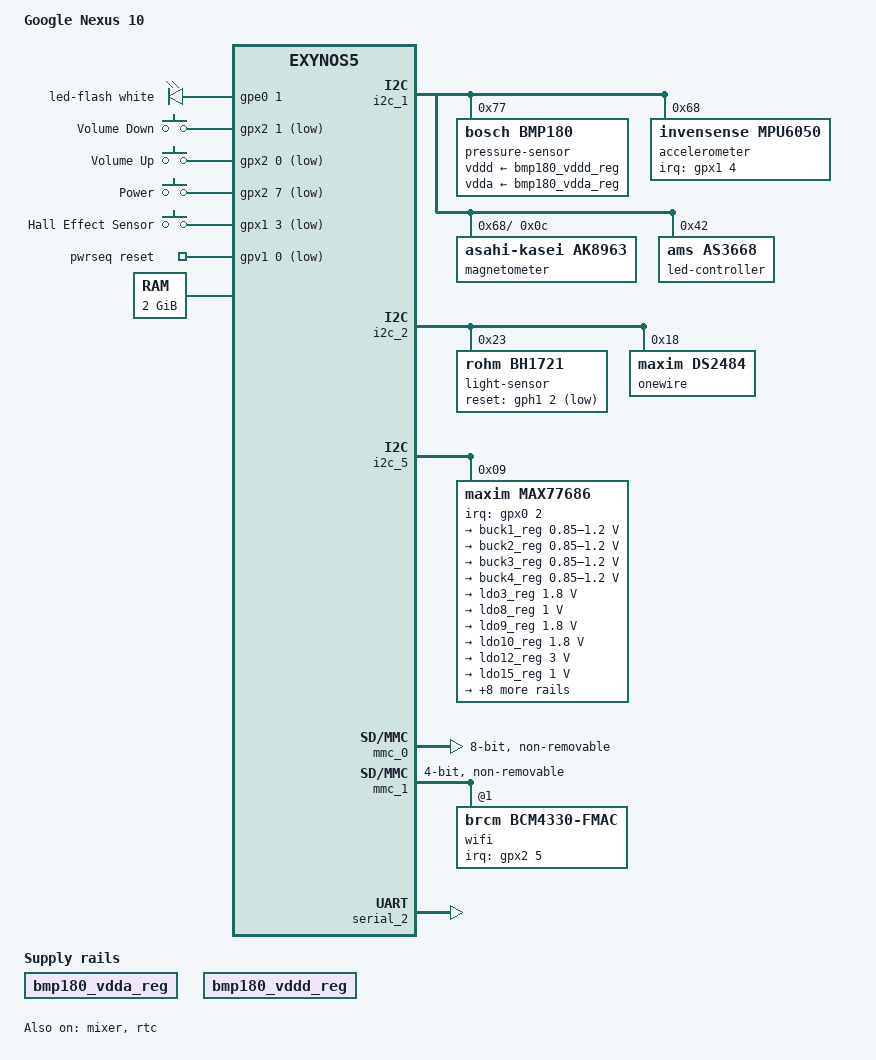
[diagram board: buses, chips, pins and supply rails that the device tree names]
// SPDX-License-Identifier: GPL-2.0
/*
 * Google Manta (Nexus 10) board device tree source
 *
 * Copyright (c) 2023-2026 Alexandre Marquet
 * Copyright (c) 2025-2026 Lukas Timmermann
 */

/dts-v1/;
#include "exynos5250.dtsi"
#include "exynos-pinctrl.h"
#include "exynos-mfc-reserved-memory.dtsi"

#include <dt-bindings/clock/maxim,max77686.h>
#include <dt-bindings/gpio/gpio.h>
#include <dt-bindings/input/linux-event-codes.h>
#include <dt-bindings/leds/common.h>

/ {
	model = "Google Nexus 10";
	compatible = "google,manta", "samsung,exynos5250", "samsung,exynos5";

	aliases {
		mmc0 = &mmc_0; /* eMMC */
		mmc1 = &mmc_1; /* WiFi */
	};

	/* Voltage source unknown */
	bmp180_vdda_reg: regulator-bmp180-vdda {
		compatible = "regulator-fixed";
		regulator-name = "BMP180_VDDA";
	};

	/* Voltage source unknown */
	bmp180_vddd_reg: regulator-bmp180-vddd {
		compatible = "regulator-fixed";
		regulator-name = "BMP180_VDDD";
	};

	chosen {
		stdout-path = "serial2:115200n8";
	};

	flash-controller {
		compatible = "gpio-leds";

		led-flash {
			function = LED_FUNCTION_FLASH;
			color = <LED_COLOR_ID_WHITE>;
			linux,default-trigger = "flash";
			gpios = <&gpe0 1 GPIO_ACTIVE_HIGH>;
			default-state = "off";
		};
	};

	fixed-rate-clocks {
		xxti {
			compatible = "samsung,clock-xxti";
			clock-frequency = <24000000>;
		};
	};

	gpio-keys {
		compatible = "gpio-keys";

		pinctrl-0 = <&gpio_keys>;
		pinctrl-names = "default";

		button-volume-down {
			label = "Volume Down";
			gpios = <&gpx2 1 GPIO_ACTIVE_LOW>;
			linux,code = <KEY_VOLUMEDOWN>;
			debounce-interval = <5>;
		};

		button-volume-up {
			label = "Volume Up";
			gpios = <&gpx2 0 GPIO_ACTIVE_LOW>;
			linux,code = <KEY_VOLUMEUP>;
			debounce-interval = <5>;
		};

		button-power {
			label = "Power";
			gpios = <&gpx2 7 GPIO_ACTIVE_LOW>;
			linux,code = <KEY_POWER>;
			debounce-interval = <5>;
			wakeup-source;
		};

		lid-switch {
			label = "Hall Effect Sensor";
			gpios = <&gpx1 3 GPIO_ACTIVE_LOW>;
			linux,input-type = <EV_SW>;
			linux,code = <SW_LID>;
			debounce-interval = <10>;
			wakeup-source;
		};
	};

	multi-led {
		compatible = "leds-group-multicolor";
		color = <LED_COLOR_ID_RGB>;
		function = LED_FUNCTION_STATUS;
		leds = <&status_red>, <&status_green>, <&status_blue>, <&status_white>;
	};

	pwrseq: mmc1-pwrseq {
		compatible = "mmc-pwrseq-simple";

		reset-gpios = <&gpv1 0 GPIO_ACTIVE_LOW>;
		pinctrl-0 = <&wlan_pmena>;
		pinctrl-names = "default";

		clocks = <&max77686 MAX77686_CLK_PMIC>;
		clock-names = "ext_clock";

		post-power-on-delay-ms = <300>;
		power-off-delay-us = <50>;
	};

	firmware@204efff {
		compatible = "samsung,secure-firmware";
		reg = <0x0204efff 0x1000>;
	};

	memory@40000000 {
		device_type = "memory";
		reg = <0x40000000 0x20000000>,
		      <0x60000000 0x20000000>,
		      <0x80000000 0x20000000>,
		      <0xa0000000 0x1ff00000>;
	};
};

&clock {
	assigned-clocks = <&clock CLK_FOUT_APLL>;
	assigned-clock-rates = <1000000000>;
};

&cpu0 {
	cpu-supply = <&buck2_reg>;
};

&cpu1 {
	cpu-supply = <&buck2_reg>;
};

&ehci {
	status = "disabled";
};

&i2c_1 {
	status = "okay";

	pressure-sensor@77 {
		compatible = "bosch,bmp180";
		reg = <0x77>;
		vddd-supply = <&bmp180_vddd_reg>;
		vdda-supply = <&bmp180_vdda_reg>;
	};

	accelerometer@68 {
		compatible = "invensense,mpu6050";
		reg = <0x68>;

		pinctrl-0 = <&acc_int>;
		pinctrl-names = "default";

		interrupt-parent = <&gpx1>;
		interrupts = <4 IRQ_TYPE_EDGE_RISING>;

		mount-matrix = "0", "-1",  "0",
			      "-1",  "0",  "0",
			       "0",  "0", "-1";

		i2c-gate {
			#address-cells = <1>;
			#size-cells = <0>;

			magnetometer@c {
				compatible = "asahi-kasei,ak8963";
				reg = <0x0c>;

				pinctrl-0 = <&msense_reset>;
				pinctrl-names = "default";

				mount-matrix = "-1", "0",  "0",
					       "0",  "1",  "0",
					       "0",  "0", "-1";
			};
		};
	};

	led-controller@42 {
		compatible = "ams,as3668";
		#address-cells = <1>;
		#size-cells = <0>;
		reg = <0x42>;

		status_red: led@0 {
			reg = <0>;
			function = LED_FUNCTION_STATUS;
			color = <LED_COLOR_ID_RED>;
		};

		status_green: led@1 {
			reg = <1>;
			function = LED_FUNCTION_STATUS;
			color = <LED_COLOR_ID_GREEN>;
		};

		status_blue: led@2 {
			reg = <2>;
			function = LED_FUNCTION_STATUS;
			color = <LED_COLOR_ID_BLUE>;
		};

		status_white: led@3 {
			reg = <3>;
			function = LED_FUNCTION_STATUS;
			color = <LED_COLOR_ID_WHITE>;
		};
	};
};

&i2c_2 {
	status = "okay";

	light-sensor@23 {
		compatible = "rohm,bh1721";
		reg = <0x23>;

		pinctrl-0 = <&bh1721fvc_reset>;
		pinctrl-names = "default";

		reset-gpios = <&gph1 2 GPIO_ACTIVE_LOW>;
	};

	onewire@18 {
		compatible = "maxim,ds2484";
		reg = <0x18>;

		pinctrl-0 = <&onewire_sleep>;
		pinctrl-names = "default";
	};
};

&i2c_5 {
	samsung,i2c-sda-delay = <100>;
	status = "okay";

	max77686: pmic@9 {
		compatible = "maxim,max77686";
		reg = <0x09>;

		interrupt-parent = <&gpx0>;
		interrupts = <2 IRQ_TYPE_LEVEL_LOW>;

		pinctrl-0 = <&max77686_irq>;
		pinctrl-names = "default";

		#clock-cells = <1>;
		wakeup-source;

		voltage-regulators {
			buck1_reg: BUCK1 {
				regulator-name = "vdd_mif";
				regulator-min-microvolt = <850000>;
				regulator-max-microvolt = <1200000>;
				regulator-always-on;
				regulator-boot-on;
			};

			buck2_reg: BUCK2 {
				regulator-name = "vdd_arm";
				regulator-min-microvolt = <850000>;
				regulator-max-microvolt = <1200000>;
				regulator-always-on;
				regulator-boot-on;
			};

			buck3_reg: BUCK3 {
				regulator-name = "vdd_int";
				regulator-min-microvolt = <850000>;
				regulator-max-microvolt = <1200000>;
				regulator-always-on;
				regulator-boot-on;
			};

			buck4_reg: BUCK4 {
				regulator-name = "vdd_g3d";
				regulator-min-microvolt = <850000>;
				regulator-max-microvolt = <1200000>;
				regulator-boot-on;
			};

			ldo3_reg: LDO3 {
				regulator-name = "VCC_1.8V_AP";
				regulator-min-microvolt = <1800000>;
				regulator-max-microvolt = <1800000>;
				regulator-always-on;
				regulator-boot-on;
			};

			ldo8_reg: LDO8 {
				regulator-name = "VMIPI_1.0V";
				regulator-min-microvolt = <1000000>;
				regulator-max-microvolt = <1000000>;
				regulator-always-on;
				regulator-boot-on;
			};

			ldo9_reg: LDO9 {
				regulator-name = "TOUCH_VDD_1.8V";
				regulator-min-microvolt = <1800000>;
				regulator-max-microvolt = <1800000>;
			};

			ldo10_reg: LDO10 {
				regulator-name = "VMIPI_1.8V";
				regulator-min-microvolt = <1800000>;
				regulator-max-microvolt = <1800000>;
				regulator-always-on;
				regulator-boot-on;
			};

			ldo12_reg: LDO12 {
				regulator-name = "VUOTG_3.0V";
				regulator-min-microvolt = <3000000>;
				regulator-max-microvolt = <3000000>;
				regulator-always-on;
				regulator-boot-on;
			};

			ldo15_reg: LDO15 {
				regulator-name = "VHSIC_1.0V";
				regulator-min-microvolt = <1000000>;
				regulator-max-microvolt = <1000000>;
				regulator-always-on;
				regulator-boot-on;
			};

			ldo16_reg: LDO16 {
				regulator-name = "VHSIC_1.8V";
				regulator-min-microvolt = <1800000>;
				regulator-max-microvolt = <1800000>;
				regulator-always-on;
				regulator-boot-on;
			};

			ldo17_reg: LDO17 {
				regulator-name = "5M_CORE_1.5V";
				regulator-min-microvolt = <1500000>;
				regulator-max-microvolt = <1500000>;
			};

			ldo18_reg: LDO18 {
				regulator-name = "CAM_IO_1.8V";
				regulator-min-microvolt = <1800000>;
				regulator-max-microvolt = <1800000>;
			};

			ldo19_reg: LDO19 {
				regulator-name = "VT_CAM_1.8V";
				regulator-min-microvolt = <1800000>;
				regulator-max-microvolt = <1800000>;
			};

			ldo20_reg: LDO20 {
				regulator-name = "TA_CHECK_1.35V";
				regulator-min-microvolt = <1350000>;
				regulator-max-microvolt = <1350000>;
			};

			ldo23_reg: LDO23 {
				regulator-name = "TSP_AVDD_2.8V";
				regulator-min-microvolt = <2800000>;
				regulator-max-microvolt = <2800000>;
			};

			ldo24_reg: LDO24 {
				regulator-name = "CAM_AF_2.8V";
				regulator-min-microvolt = <2800000>;
				regulator-max-microvolt = <2800000>;
			};

			ldo25_reg: LDO25 {
				regulator-name = "VADC_3.3V";
				regulator-min-microvolt = <3300000>;
				regulator-max-microvolt = <3300000>;
				regulator-always-on;
				regulator-boot-on;
			};
		};
	};
};

&mixer {
	status = "okay";
};

/* eMMC */
&mmc_0 {
	non-removable;
	max-frequency = <200000000>;
	sd-uhs-ddr50;
	mmc-ddr-1_8v;
	cap-mmc-hw-reset;
	mmc-hs200-1_8v;
	bus-width = <8>;
	card-detect-delay = <200>;
	samsung,dw-mshc-ciu-div = <3>;
	samsung,dw-mshc-sdr-timing = <1 2>;
	samsung,dw-mshc-ddr-timing = <2 3>;

	pinctrl-0 = <&sd0_clk &sd0_cmd &sd0_bus4 &sd0_bus8>;
	pinctrl-names = "default";

	status = "okay";
};

/* WiFi */
&mmc_1 {
	non-removable;
	max-frequency = <100000000>;
	sd-uhs-sdr50;
	cap-sd-highspeed;
	keep-power-in-suspend;
	bus-width = <4>;
	card-detect-delay = <0>;
	samsung,dw-mshc-ciu-div = <3>;
	samsung,dw-mshc-sdr-timing = <2 4>;
	samsung,dw-mshc-ddr-timing = <2 3>;

	pinctrl-names = "default";
	pinctrl-0 = <&sd1_clk &sd1_cmd &sd1_bus4>;
	mmc-pwrseq = <&pwrseq>;

	status = "okay";

	wifi@1 {
		compatible = "brcm,bcm4330-fmac", "brcm,bcm4329-fmac";
		reg = <1>;
		interrupt-parent = <&gpx2>;
		interrupts = <5 IRQ_TYPE_LEVEL_HIGH>;
		interrupt-names = "host-wake";
		pinctrl-0 = <&wlan_irq>;
		pinctrl-names = "default";
	};
};

&ohci {
	status = "disabled";
};

&pinctrl_0 {
	acc_int: acc-int-pins {
		samsung,pins = "gpx1-4";
		samsung,pin-function = <EXYNOS_PIN_FUNC_EINT>;
		samsung,pin-pud = <EXYNOS_PIN_PULL_UP>;
	};

	max77686_irq: max77686-irq-pins {
		samsung,pins = "gpx0-2";
		samsung,pin-function = <EXYNOS_PIN_FUNC_F>;
		samsung,pin-pud = <EXYNOS_PIN_PULL_NONE>;
		samsung,pin-drv = <EXYNOS4_PIN_DRV_LV1>;
	};

	gpio_keys: gpio-keys-pins {
		samsung,pins = "gpx2-0", "gpx2-1", "gpx2-7", "gpx1-3";
		samsung,pin-pud = <EXYNOS_PIN_PULL_NONE>;
	};

	wlan_irq: wlan-irq-pins {
		samsung,pins = "gpx2-5";
		samsung,pin-function = <EXYNOS_PIN_FUNC_INPUT>;
		samsung,pin-pud = <EXYNOS_PIN_PULL_NONE>;
		samsung,pin-drv = <EXYNOS4_PIN_DRV_LV3>;
	};
};

&pinctrl_1 {
	bh1721fvc_reset: bh1721fvc-reset-pins {
		samsung,pins = "gph1-2";
		samsung,pin-function = <EXYNOS_PIN_FUNC_OUTPUT>;
		samsung,pin-pud = <EXYNOS_PIN_PULL_NONE>;
	};

	msense_reset: msense-reset-pins {
		samsung,pins = "gpg2-0";
		samsung,pin-function = <EXYNOS_PIN_FUNC_OUTPUT>;
	};

	onewire_sleep: onewire-sleep-pins {
		samsung,pins = "gpg0-0";
		samsung,pin-function = <EXYNOS_PIN_FUNC_OUTPUT>;
		samsung,pin-pud = <EXYNOS_PIN_PULL_NONE>;
		samsung,pin-con-pdn = <EXYNOS_PIN_PDN_INPUT>;
		samsung,pin-pud-pdn = <EXYNOS_PIN_PULL_NONE>;
	};
};

&pinctrl_2 {
	wlan_pmena: wlan-pmena-pins {
		samsung,pins = "gpv1-0";
		samsung,pin-function = <EXYNOS_PIN_FUNC_OUTPUT>;
		samsung,pin-pud = <EXYNOS_PIN_PULL_NONE>;
		samsung,pin-drv = <EXYNOS4_PIN_DRV_LV3>;
		samsung,pin-con-pdn = <EXYNOS_PIN_PDN_PREV>;
		samsung,pin-val = <0>;
	};
};

&pmu_system_controller {
	assigned-clocks = <&pmu_system_controller 0>;
	assigned-clock-parents = <&clock CLK_FIN_PLL>;
};

&rtc {
	clocks = <&clock CLK_RTC>, <&max77686 MAX77686_CLK_AP>;
	clock-names = "rtc", "rtc_src";
	status = "okay";
};

&sd1_bus4 {
	samsung,pin-con-pdn = <EXYNOS_PIN_PDN_INPUT>;
	samsung,pin-pud-pdn = <EXYNOS_PIN_PULL_NONE>;
};

&sd1_cmd {
	samsung,pin-con-pdn = <EXYNOS_PIN_PDN_INPUT>;
	samsung,pin-pud-pdn = <EXYNOS_PIN_PULL_NONE>;
};

/* Bluetooth */
&serial_0 {
	status = "disabled";
};

/* GPS */
&serial_1 {
	status = "disabled";
};

&serial_2 {
	pinctrl-0 = <&uart2_data>;
	pinctrl-1 = <&uart2_data>, <&uart2_fctl>;
	pinctrl-names = "default", "flow-control";
	status = "okay";
};

&usbdrd {
	status = "disabled";
};

&usbdrd_dwc3 {
	status = "disabled";
};

&usbdrd_phy {
	status = "disabled";
};
